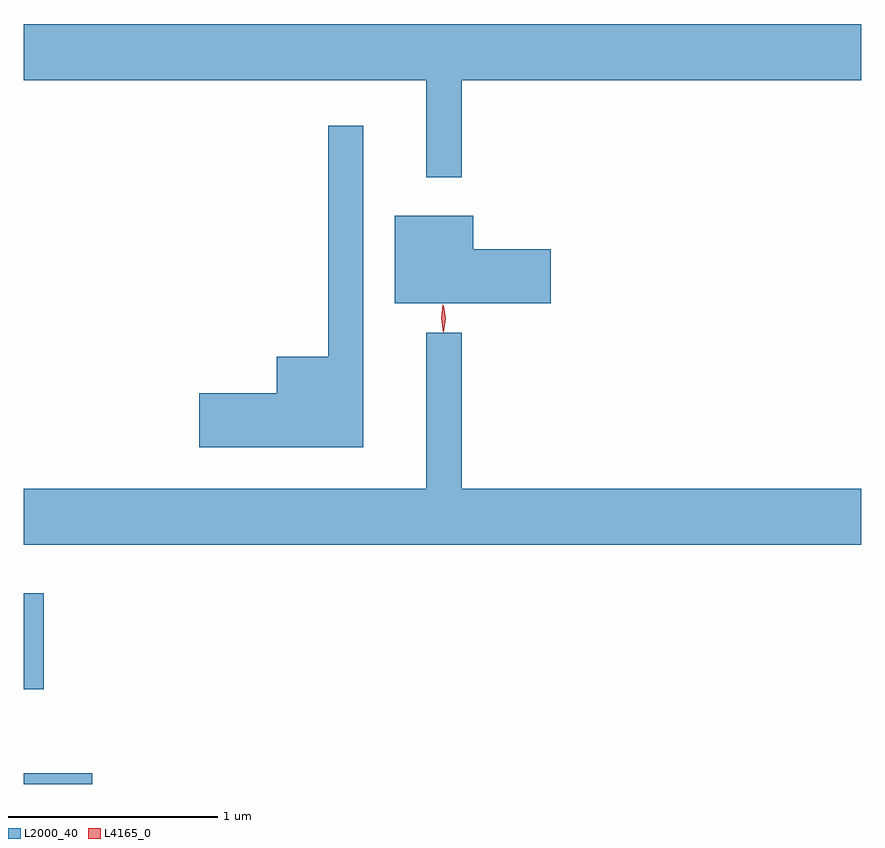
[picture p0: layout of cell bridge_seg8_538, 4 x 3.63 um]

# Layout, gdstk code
import gdstk
lib = gdstk.Library(unit=1e-6, precision=1e-09)
def R(c, l, rs):  # rectangles x0, y0, x1, y1
    for r in rs: c.add(gdstk.rectangle(r[:2], r[2:], *l))
def P(c, l, *ps):  # polygons
    for p in ps: c.add(gdstk.Polygon(p, *l))
L2000_40 = (2000, 40)
L4165_0 = (4165, 0)

bridge_seg8_538 = lib.new_cell('bridge_seg8_538')
R(bridge_seg8_538, L2000_40, [(465.688,1864.133,466.014,1864.184), (465.688,1864.586,465.784,1865.044)])
P(bridge_seg8_538, L2000_40, [(467.779,1867.496),(469.688,1867.496),(469.688,1867.764),(465.688,1867.764),(465.688,1867.496),(467.611,1867.496),(467.611,1867.033),(467.779,1867.033)],
  [(467.309,1867.278),(467.141,1867.278),(467.141,1866.174),(466.896,1866.174),(466.896,1865.999),(466.526,1865.999),(466.526,1865.741),(467.309,1865.741)],
  [(468.204,1866.689),(467.834,1866.689),(467.834,1866.849),(467.461,1866.849),(467.461,1866.431),(468.204,1866.431)],
  [(469.688,1865.544),(467.779,1865.544),(467.779,1866.288),(467.611,1866.288),(467.611,1865.544),(465.688,1865.544),(465.688,1865.276),(469.688,1865.276)])
P(bridge_seg8_538, L4165_0, [(467.691,1866.29),(467.691,1866.29),(467.681,1866.358),(467.689,1866.425),(467.69,1866.426),(467.69,1866.425),(467.7,1866.358),(467.692,1866.29)],
  [(467.693,1866.293),(467.693,1866.293),(467.683,1866.356),(467.693,1866.419),(467.693,1866.42),(467.694,1866.419),(467.703,1866.356),(467.694,1866.293)])

lib.write_gds('bridge_seg8_538.gds')
